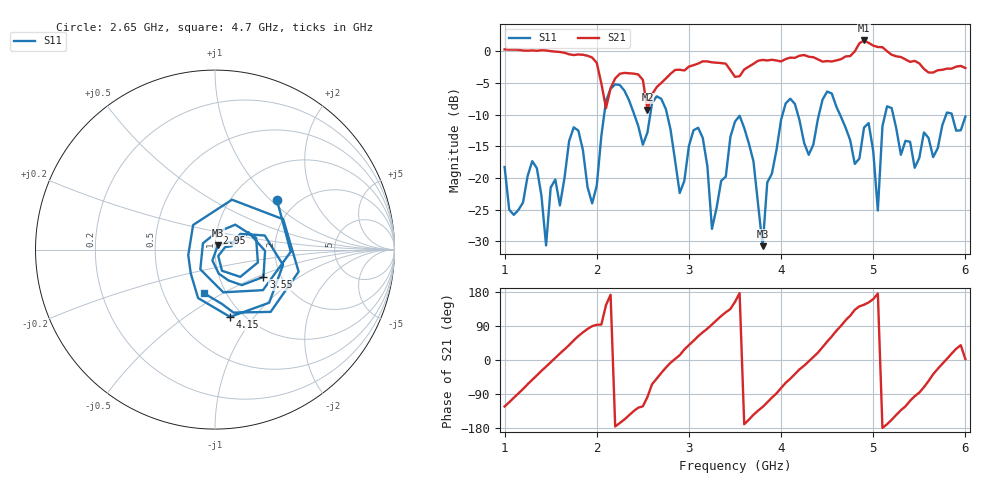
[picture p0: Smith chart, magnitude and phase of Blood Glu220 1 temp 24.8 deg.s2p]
! NanoVNA-App
! Date: 2024-03-21 16:42:29
! Start: 1GHz Stop: 6GHz Points: 101
! S-Parameter data: F S11 S21 S12 S22
# Hz S RI R 50
!	Frequency	S11_Real	S11_Imag	S21_Real	S21_Imag	S12_Real	S12_Imag	S22_Real	S22_Imag
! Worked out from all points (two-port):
!   101 points, 1 GHz to 6 GHz, reference 50 ohm
!   highest |S21| = 1.74 dB at 4.9 GHz (marker M1); lowest = -9.2 dB at 2.55 GHz (marker M2)
!   |S21| within 3 dB of the highest: start of sweep to 1.968 GHz; 4.641 GHz to 5.35 GHz (708.7 MHz wide, 14.2 % of centre) (the widest 2 of 3)
!   lowest |S11| = -30.8 dB at 3.8 GHz (marker M3), VSWR 1.06, Z = 51.6 + j2.49 ohm
!   |S11| at or under -10 dB: start of sweep to 2.08 GHz; 2.764 GHz to 4.016 GHz (1.252 GHz wide, 36.9 % of centre); 5.216 GHz to 5.791 GHz (575.1 MHz wide, 10.4 % of centre) (the widest 3 of 7)
!   S12 and S22 are empty: the file has one direction only
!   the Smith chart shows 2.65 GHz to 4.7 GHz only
!   S11 on the Smith chart (normalised r, x): 2.65 GHz: 1.59, +1.09; 2.95 GHz: 1.00, +0.19; 3.55 GHz: 1.63, -0.55; 4.15 GHz: 0.87, -0.77; 4.7 GHz: 0.79, -0.41
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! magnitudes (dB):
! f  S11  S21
! 1 GHz  -18.3  0.3
! 1.35 GHz  -18.5  0.1
! 1.45 GHz  -30.7  0.2
! 1.85 GHz  -15.6  -0.5
! 2.2 GHz  -5.2  -4.3
! 2.55 GHz  -12.8  -9.2
! 2.65 GHz  -7.1  -5.6
! 2.7 GHz  -7.5  -5.0
! 2.95 GHz  -20.5  -3.0
! 3.1 GHz  -12.1  -1.9
! 3.25 GHz  -28.1  -1.7
! 3.5 GHz  -11.1  -4.0
! 3.55 GHz  -10.2  -3.9
! 3.8 GHz  -30.8  -1.3
! 4.15 GHz  -8.3  -1.0
! 4.35 GHz  -14.7  -0.9
! 4.7 GHz  -12.0  -0.8
! 4.9 GHz  -12.0  1.7
! 5.05 GHz  -25.1  0.7
! 5.2 GHz  -9.0  -0.5
! 5.45 GHz  -18.4  -1.5
! 6 GHz  -10.3  -2.6
